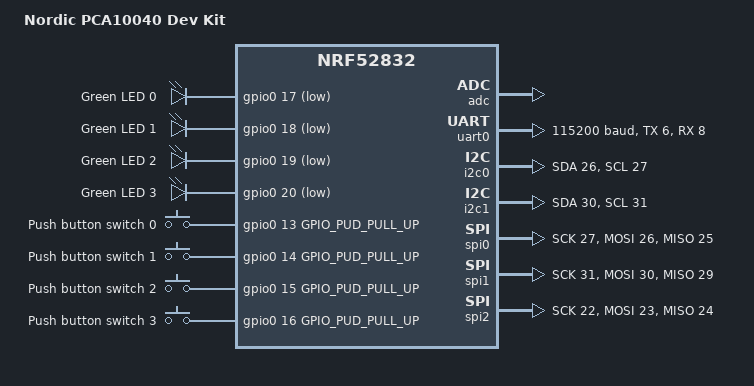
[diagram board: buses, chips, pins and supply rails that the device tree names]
/*
 * Copyright (c) 2017 Shawn Nock <shawn@monadnock.ca>
 * Copyright (c) 2017 Linaro Limited
 *
 * SPDX-License-Identifier: Apache-2.0
 */

/dts-v1/;
#include <nordic/nrf52832_qfaa.dtsi>

/ {
	model = "Nordic PCA10040 Dev Kit";
	compatible = "nordic,pca10040-dk", "nordic,nrf52832-qfaa",
		     "nordic,nrf52832";

	chosen {
		zephyr,console = &uart0;
#ifdef CONFIG_MCUMGR_SMP_UART
		zephyr,uart-mcumgr = &uart0;
#endif
		zephyr,sram = &sram0;
		zephyr,flash = &flash0;
	};

	leds {
		compatible = "gpio-leds";
		led0: led@0 {
			gpios = <&gpio0 17 GPIO_INT_ACTIVE_LOW>;
			label = "Green LED 0";
		};
		led1: led@1 {
			gpios = <&gpio0 18 GPIO_INT_ACTIVE_LOW>;
			label = "Green LED 1";
		};
		led2: led@2 {
			gpios = <&gpio0 19 GPIO_INT_ACTIVE_LOW>;
			label = "Green LED 2";
		};
		led3: led@3 {
			gpios = <&gpio0 20 GPIO_INT_ACTIVE_LOW>;
			label = "Green LED 3";
		};
	};

	buttons {
		compatible = "gpio-keys";
		button0: button@0 {
			gpios = <&gpio0 13 GPIO_PUD_PULL_UP>;
			label = "Push button switch 0";
		};
		button1: button@1 {
			gpios = <&gpio0 14 GPIO_PUD_PULL_UP>;
			label = "Push button switch 1";
		};
		button2: button@2 {
			gpios = <&gpio0 15 GPIO_PUD_PULL_UP>;
			label = "Push button switch 2";
		};
		button3: button@3 {
			gpios = <&gpio0 16 GPIO_PUD_PULL_UP>;
			label = "Push button switch 3";
		};
	};

	/* These aliases are provided for compatibility with samples */
	aliases {
		led0 = &led0;
		led1 = &led1;
		led2 = &led2;
		led3 = &led3;
		sw0 = &button0;
		sw1 = &button1;
		sw2 = &button2;
		sw3 = &button3;
	};
};

&adc {
	status ="ok";
};

&gpiote {
	status ="ok";
};

&gpio0 {
	status ="ok";
};

&uart0 {
	status = "ok";
	compatible = "nordic,nrf-uart";
	current-speed = <115200>;
	tx-pin = <6>;
	rx-pin = <8>;
	rts-pin = <5>;
	cts-pin = <7>;
};

&i2c0 {
	status = "ok";
	sda-pin = <26>;
	scl-pin = <27>;
};

&i2c1 {
	status = "ok";
	sda-pin = <30>;
	scl-pin = <31>;
};

&spi0 {
	status = "ok";
	sck-pin = <27>;
	mosi-pin = <26>;
	miso-pin = <25>;
};

&spi1 {
	status = "ok";
	sck-pin = <31>;
	mosi-pin = <30>;
	miso-pin = <29>;
};

&spi2 {
	status = "ok";
	sck-pin = <22>;
	mosi-pin = <23>;
	miso-pin = <24>;
};

&flash0 {
	/*
	 * For more information, see:
	 * http://docs.zephyrproject.org/latest/devices/dts/flash_partitions.html
	 */
	partitions {
		compatible = "fixed-partitions";
		#address-cells = <1>;
		#size-cells = <1>;

		boot_partition: partition@0 {
			label = "mcuboot";
			reg = <0x00000000 0xc000>;
		};
		slot0_partition: partition@c000 {
			label = "image-0";
			reg = <0x0000C000 0x32000>;
		};
		slot1_partition: partition@3e000 {
			label = "image-1";
			reg = <0x0003E000 0x32000>;
		};
		scratch_partition: partition@70000 {
			label = "image-scratch";
			reg = <0x00070000 0xa000>;
		};

#if defined(CONFIG_FS_FLASH_STORAGE_PARTITION)
		storage_partition: partition@7a000 {
			label = "storage";
			reg = <0x0007a000 0x00006000>;
		};
#endif
	};
};
